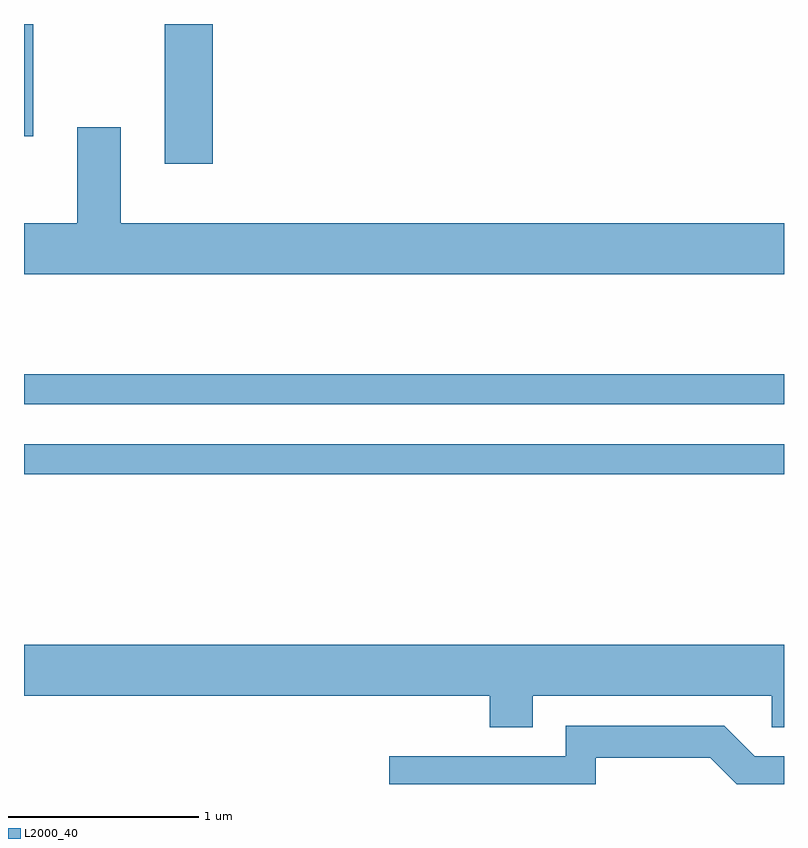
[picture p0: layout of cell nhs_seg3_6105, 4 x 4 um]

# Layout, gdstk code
import gdstk
lib = gdstk.Library(unit=1e-6, precision=1e-09)
def R(c, l, rs):  # rectangles x0, y0, x1, y1
    for r in rs: c.add(gdstk.rectangle(r[:2], r[2:], *l))
def P(c, l, *ps):  # polygons
    for p in ps: c.add(gdstk.Polygon(p, *l))
L2000_40 = (2000, 40)

nhs_seg3_6105 = lib.new_cell('nhs_seg3_6105')
R(nhs_seg3_6105, L2000_40, [(363.611,1231.521,367.611,1231.679), (363.611,1231.891,367.611,1232.049), (364.351,1233.156,364.604,1233.892), (363.611,1233.301,363.659,1233.892)])
P(nhs_seg3_6105, L2000_40, [(367.611,1232.844),(364.119,1232.844),(364.119,1233.349),(363.891,1233.349),(363.891,1232.844),(363.611,1232.844),(363.611,1232.576),(367.611,1232.576)],
  [(366.289,1230.356),(367.546,1230.356),(367.546,1230.191),(367.611,1230.191),(367.611,1230.624),(363.611,1230.624),(363.611,1230.356),(366.061,1230.356),(366.061,1230.191),(366.289,1230.191)],
  [(366.619,1230.031),(367.224,1230.031),(367.363,1229.892),(367.611,1229.892),(367.611,1230.039),(367.457,1230.039),(367.297,1230.199),(366.461,1230.199),(366.461,1230.039),(365.533,1230.039),(365.533,1229.892),(366.619,1229.892)])

lib.write_gds('nhs_seg3_6105.gds')
